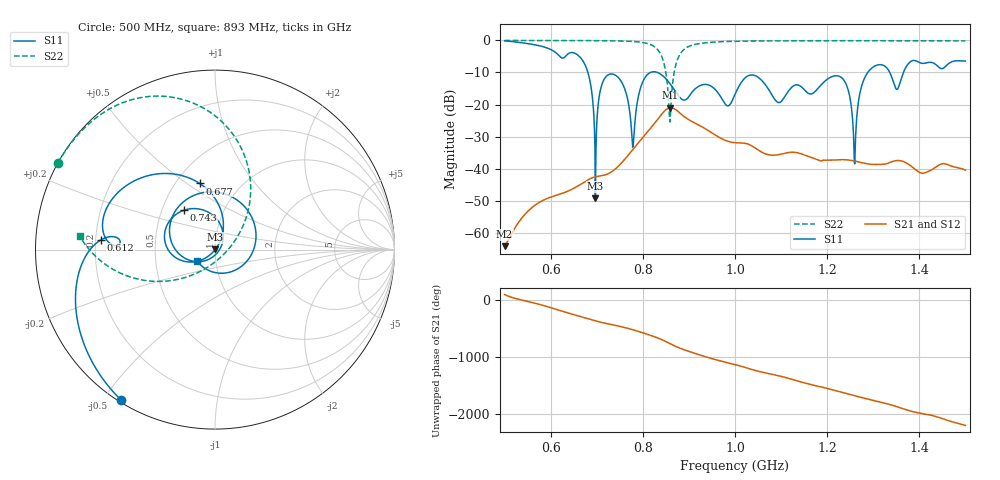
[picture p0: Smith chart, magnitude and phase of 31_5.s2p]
! TOUCHSTONE file generated by CST MICROWAVE STUDIO
! Date and time: Mon Nov 30 08:10:18 2020
! Project name: Scenario_1_Planar_Body_Tissue_Out_of_Line.cst
! Parameters = {dy1=173; L_HA=400; Ltissue=700; MT=2.54; Rad_Dielectric=30; Rad_Lower=7.3; Rad_Upper=30; Wtissue=700; a_HA=580; a_WG=246; b_HA=500; b_WG=121; c_HA=0; c_WG=187; d_feed=85; dx1=866; h_feed=15; h_lower=18; h_upper=40; hfat=3; hgap=25; hmuscle=50; hskin=1.5}
! Header version: 2018
! Port assignment regex: !\s*Touchstone port\s*([0-9]+)\s*=\s*(CST MWS port|CST DS port)\s*([0-9]+|Zmin|Zmax)\s*\(\"(.*)\"\)(\s*mode\s*([0-9]+))?.*
! Touchstone port assignment:
! Touchstone port 1 = CST MWS port 1 ("")
! Touchstone port 2 = CST MWS port 2 ("")
# GHz S DB R 50
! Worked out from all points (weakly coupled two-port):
!   1003 points, 500 MHz to 1.5 GHz, reference 50 ohm
!   highest |S21| = -20.99 dB at 860 MHz (marker M1); lowest = -64.2 dB at 500 MHz (marker M2)
!   lowest |S11| = -49.2 dB at 697 MHz (marker M3), VSWR 1.01, Z = 50.3 + j0.228 ohm
!   |S11| at or under -10 dB: 680.7 MHz to 816.5 MHz (135.7 MHz wide, 18.1 % of centre); 831.7 MHz to 1.288 GHz (456.4 MHz wide, 43.1 % of centre); 1.336 GHz to 1.366 GHz (29.63 MHz wide, 2.19 % of centre)
!   |S22| runs from -25.4 to 0.0 dB; largest |S21 - S12| = 1.6e-05
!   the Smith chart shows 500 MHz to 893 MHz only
!   S11 on the Smith chart (normalised r, x): 500 MHz: 0.01, -0.55; 612 MHz: 0.22, +0.04; 677 MHz: 0.65, +0.56; 743 MHz: 0.65, +0.31; 893 MHz: 0.81, -0.10
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0.5  -0.11 -122.1  -64.20 98.4  -64.20 98.4  -0.01 151.2
0.612  -3.92 175.1  -48.34 -162.7  -48.34 -162.7  -0.02 143.2
0.667  -5.78 124.4  -44.73 65.0  -44.73 65.0  -0.04 138.4
0.677  -8.43 103.1  -43.85 41.9  -43.85 41.9  -0.05 137.4
0.697  -49.22 41.0  -42.55 -4.9  -42.55 -4.9  -0.06 135.2
0.713  -13.03 -168.4  -42.14 -38.3  -42.14 -38.3  -0.08 133.3
0.743  -11.09 128.0  -39.77 -90.1  -39.77 -90.1  -0.14 128.8
0.778  -33.31 -22.9  -34.10 -161.8  -34.10 -161.8  -0.33 121.1
0.8  -12.86 177.6  -30.28 143.8  -30.28 143.8  -0.66 113.0
0.834  -10.15 75.3  -24.28 47.5  -24.28 47.5  -3.21 84.9
0.86  -13.71 -6.5  -20.99 -51.7  -20.99 -51.7  -23.12 -90.6
0.893  -18.51 -147.7  -24.11 -164.9  -24.11 -164.9  -2.40 174.2
1  -16.84 114.5  -31.90 -56.0  -31.90 -56.0  -0.27 140.3
1.034  -10.79 -3.5  -32.71 -136.8  -32.71 -136.8  -0.19 136.2
1.094  -19.39 151.6  -35.65 107.0  -35.65 107.0  -0.13 130.3
1.129  -14.01 -6.5  -34.91 30.6  -34.91 30.6  -0.11 127.3
1.167  -16.64 176.7  -36.63 -53.7  -36.63 -53.7  -0.10 124.2
1.232  -11.70 -2.8  -37.21 175.4  -37.21 175.4  -0.08 119.3
1.26  -38.51 169.2  -37.65 112.9  -37.65 112.9  -0.08 117.2
1.284  -10.94 58.8  -38.43 63.2  -38.43 63.2  -0.09 115.4
1.334  -9.50 -21.6  -38.21 -36.5  -38.21 -36.5  -0.08 111.6
1.5  -6.45 -45.4  -40.46 -50.2  -40.46 -50.2  -0.13 98.0
